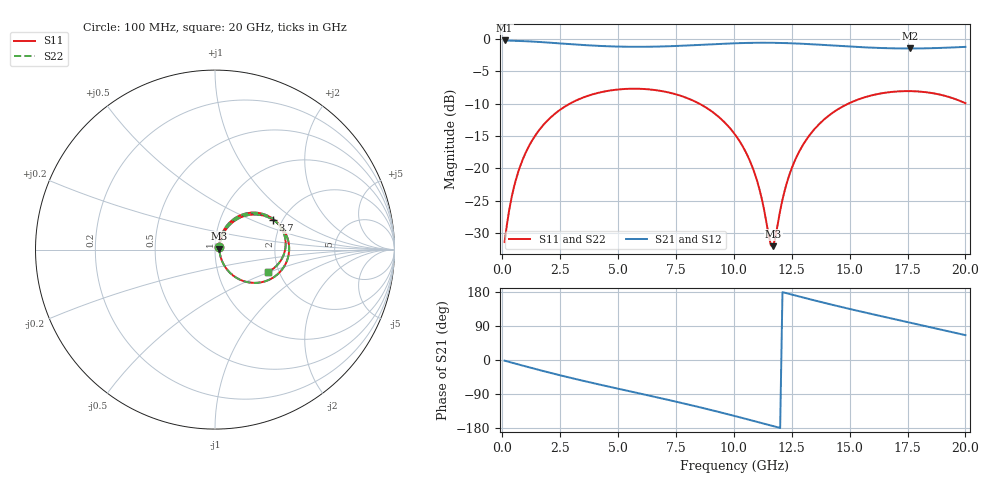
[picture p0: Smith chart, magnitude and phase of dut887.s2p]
! Touchstone file exported from HFSS 2026.1.0
!  File:  C:/ffzhzh/LocalFiles/Ansys_Project_Files/temp_train_TSV_RDL_887_1783274535_38704.aedt
!  Generated:  02:15:13 AM Jul  6, 2026
!  Design:  TSV_RDL
!  Project:  temp_train_TSV_RDL_887_1783274535_38704
! Variables:
!  h_bsmrdl = 5.48um
!  h_ox = 20um
!  h_rdl = 5um
!  h_sub = 91.65um
!  h_tmrdl = 5.48um
!  h_tsv = 91.65um
!  h_via = 3um
!  l_bsmrdl = 589.41um
!  l_sub = 4970.47um
!  l_tmrdl = 676.17um
!  m_sub = 200um
!  pitch = 31.31um
!  r_tsv = 4.48um
!  s_tmrdl = 10um
!  w_bsmrdl = 18.54um
!  w_sub = 500um
!  w_tmrdl = 13.98um
!  x_tsv_center1 = 683.16um
!  x_tsv_center2 = 1291.11um
!  x_tsv_center3 = 1981.26um
!  x_tsv_center4 = 2589.21um
!  x_tsv_center5 = 3279.36um
!  x_tsv_center6 = 3887.31um
# GHz S MA R 50.000000
! Terminal data exported
! Port[1] = TM_RDL1_1_T1
! Port[2] = TM_RDL5_1_T1
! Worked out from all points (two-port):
!   200 points, 100 MHz to 20 GHz, reference 50 ohm
!   highest |S21| = -0.20 dB at 100 MHz (marker M1); lowest = -1.4 dB at 17.6 GHz (marker M2)
!   |S21| within 3 dB of the highest: start of sweep to end of sweep
!   lowest |S11| = -32.1 dB at 11.7 GHz (marker M3), VSWR 1.05, Z = 52.5 + j0.64 ohm
!   |S11| at or under -10 dB: start of sweep to 2.914 GHz; 8.512 GHz to 14.94 GHz (6.425 GHz wide, 54.8 % of centre)
!   |S22| runs from -32.2 to -7.7 dB; largest |S21 - S12| = 1.8e-14
!   S11 on the Smith chart (normalised r, x): 100 MHz: 1.05, +0.03; 3.7 GHz: 1.79, +0.69; 20 GHz: 1.75, -0.48
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0.1  0.02679 30.8  0.9773 -1.8  0.9773 -1.8  0.02679 30.8
! Gamma 0 0 0 0
! Port Impedance 50 0 50 0
0.3  0.04768 54.1  0.9748 -5.2  0.9748 -5.2  0.04768 54.1
0.5  0.07104 60.5  0.9724 -8.5  0.9724 -8.5  0.07104 60.5
1.2  0.154 59.7  0.9607 -20.0  0.9607 -20.0  0.154 59.7
2.2  0.2579 47.4  0.9355 -35.8  0.9355 -35.8  0.2579 47.4
3.5  0.3536 29.8  0.901 -55.0  0.901 -55.0  0.3536 29.8
3.7  0.3642 27.1  0.8964 -57.9  0.8964 -57.9  0.3642 27.1
5.3  0.4115 6.3  0.8739 -79.8  0.8739 -79.8  0.4115 6.3
6.8  0.3986 -12.8  0.8769 -100.2  0.8769 -100.2  0.3986 -12.8
8.7  0.3028 -37.6  0.9064 -127.2  0.9064 -127.2  0.3028 -37.6
10.1  0.1775 -54.9  0.9302 -148.7  0.9302 -148.7  0.1775 -55.0
10.9  0.09132 -59.6  0.9374 -161.5  0.9374 -161.5  0.09127 -59.8
11.2  0.0587 -55.2  0.9383 -166.4  0.9383 -166.4  0.05861 -55.4
11.6  0.02528 -11.2  0.9376 -172.8  0.9376 -172.8  0.02505 -11.4
11.7  0.02491 14.2  0.9372 -174.4  0.9372 -174.4  0.02467 14.2
12.1  0.05704 60.9  0.934 179.1  0.934 179.1  0.05693 61.1
12.4  0.08916 65.8  0.9305 174.3  0.9305 174.3  0.08909 65.9
13.4  0.193 59.3  0.9126 158.5  0.9126 158.5  0.193 59.3
14.8  0.3075 42.0  0.8811 137.6  0.8811 137.6  0.3075 42.0
16.7  0.3882 18.0  0.8507 111.1  0.8507 111.1  0.3883 18.0
17.6  0.3959 6.9  0.847 98.9  0.847 98.9  0.3959 6.8
20  0.3188 -23.0  0.8717 65.5  0.8717 65.5  0.3189 -23.1
